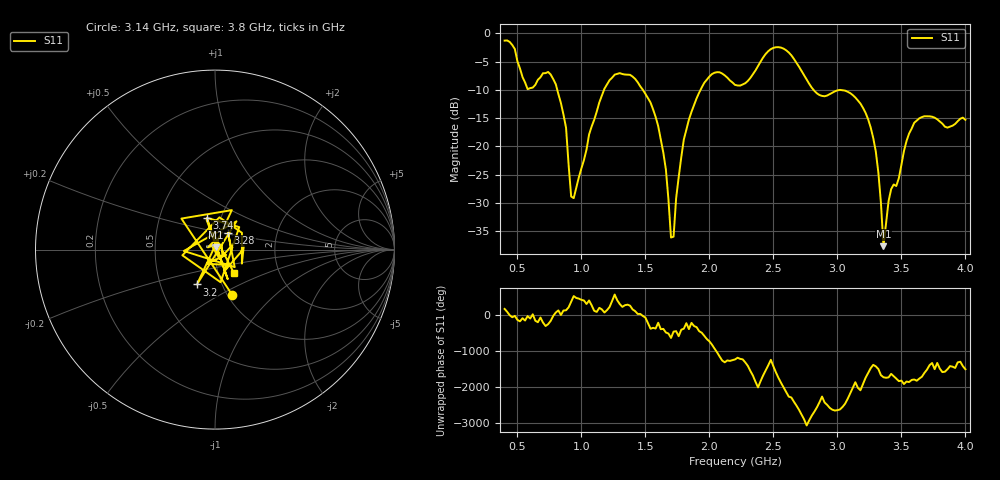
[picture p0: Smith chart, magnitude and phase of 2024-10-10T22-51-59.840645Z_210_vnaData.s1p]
! Created with skrf (http://scikit-rf.org).
# Hz S RI R 50.0
!freq ReS11 ImS11
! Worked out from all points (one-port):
!   181 points, 400 MHz to 4 GHz, reference 50 ohm
!   lowest |S11| = -37.7 dB at 3.36 GHz (marker M1), VSWR 1.03, Z = 50.5 + j1.23 ohm
!   |S11| at or under -10 dB: 811.4 MHz to 1.177 GHz (365.3 MHz wide, 36.7 % of centre); 1.48 GHz to 1.931 GHz (450.6 MHz wide, 26.4 % of centre); 2.814 GHz to end of sweep
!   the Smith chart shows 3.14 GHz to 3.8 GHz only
!   S11 on the Smith chart (normalised r, x): 3.14 GHz: 1.05, -0.57; 3.2 GHz: 0.76, -0.31; 3.28 GHz: 1.13, +0.22; 3.74 GHz: 0.86, +0.32; 3.8 GHz: 1.19, -0.31
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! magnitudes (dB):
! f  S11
! 400 MHz  -1.3
! 580 MHz  -9.9
! 760 MHz  -7.3
! 860 MHz  -14.4
! 940 MHz  -29.2
! 1.14 GHz  -12.2
! 1.3 GHz  -7.0
! 1.58 GHz  -14.8
! 1.66 GHz  -24.1
! 1.7 GHz  -36.1
! 1.76 GHz  -25.5
! 1.84 GHz  -15.3
! 1.96 GHz  -8.8
! 2.2 GHz  -9.1
! 2.5 GHz  -2.6
! 2.66 GHz  -4.5
! 2.86 GHz  -10.9
! 3.1 GHz  -10.6
! 3.14 GHz  -11.4
! 3.2 GHz  -13.2
! 3.28 GHz  -18.5
! 3.32 GHz  -24.6
! 3.36 GHz  -37.7
! 3.42 GHz  -27.6
! 3.56 GHz  -17.7
! 3.74 GHz  -14.8
! 3.8 GHz  -15.6
! 4 GHz  -15.3
